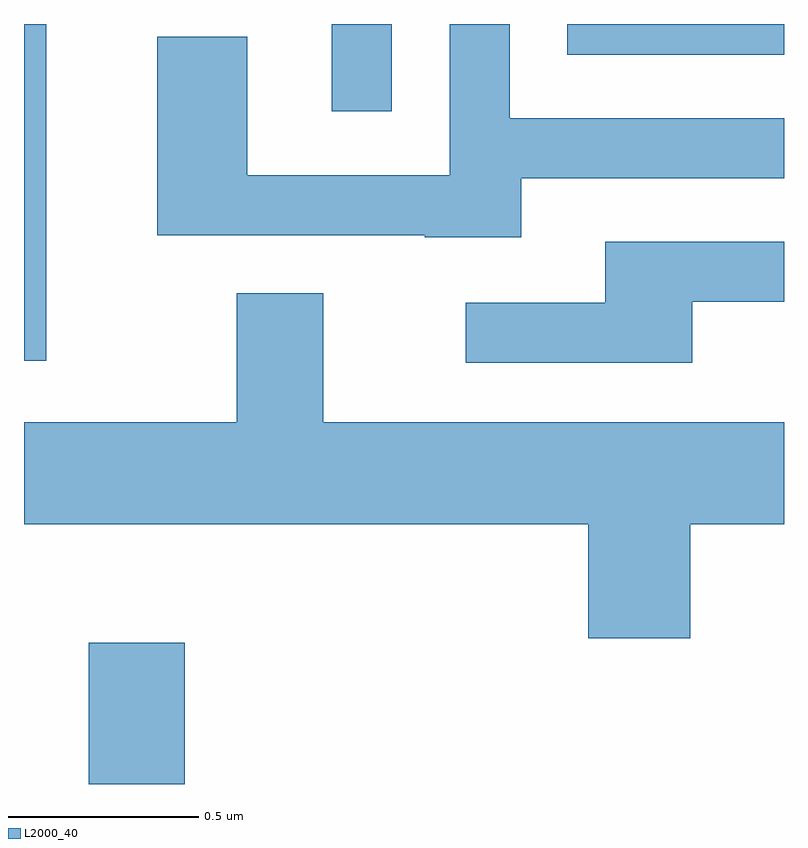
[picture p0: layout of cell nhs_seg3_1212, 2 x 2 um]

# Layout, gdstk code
import gdstk
lib = gdstk.Library(unit=1e-6, precision=1e-09)
def R(c, l, rs):  # rectangles x0, y0, x1, y1
    for r in rs: c.add(gdstk.rectangle(r[:2], r[2:], *l))
def P(c, l, *ps):  # polygons
    for p in ps: c.add(gdstk.Polygon(p, *l))
L2000_40 = (2000, 40)

nhs_seg3_1212 = lib.new_cell('nhs_seg3_1212')
R(nhs_seg3_1212, L2000_40, [(193.781,1231.892,194.034,1232.264), (193.611,1233.006,193.669,1233.892), (194.421,1233.663,194.579,1233.892), (195.041,1233.811,195.611,1233.892)])
P(nhs_seg3_1212, L2000_40, [(194.919,1233.486),(195.611,1233.486),(195.611,1233.644),(194.889,1233.644),(194.889,1233.892),(194.731,1233.892),(194.731,1233.494),(194.199,1233.494),(194.199,1233.859),(193.961,1233.859),(193.961,1233.336),(194.665,1233.336),(194.665,1233.331),(194.919,1233.331)],
  [(195.369,1233.161),(195.611,1233.161),(195.611,1233.319),(195.141,1233.319),(195.141,1233.159),(194.773,1233.159),(194.773,1233.001),(195.369,1233.001)],
  [(195.364,1232.576),(195.611,1232.576),(195.611,1232.844),(194.399,1232.844),(194.399,1233.184),(194.171,1233.184),(194.171,1232.844),(193.611,1232.844),(193.611,1232.576),(195.096,1232.576),(195.096,1232.276),(195.364,1232.276)])

lib.write_gds('nhs_seg3_1212.gds')
